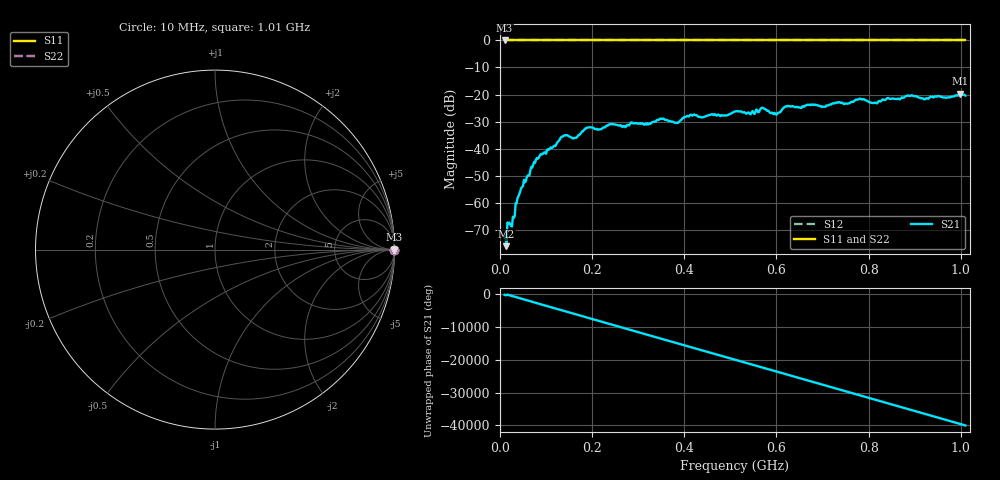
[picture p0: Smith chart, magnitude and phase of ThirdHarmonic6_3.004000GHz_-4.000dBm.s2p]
! 8/17/2025 8:35:48 AM
! C:\ANRITSUVNA\TEMP\TEMP.S2P
! CHANNEL.1
! TR.MEASUREMENT
! RAW.DATA
! RF.CORRECTION.OFF
! AVERAGING.OFF
! IF.BANDWIDTH: 5KHZ
! SWEEPTYPE:  FREQ.SWEEP(Linear)
! Reference Plane Port Info
! PORT:  PORT1  PORT2
! DISTANCE:  0  m  0  m
! TIME:  0  s  0  s
! PHASE.OFFSET:  0  deg.  0  deg.
! LOSS:  0  dB  0  dB
! REF.LOSS:  0  dB  0  dB
! REF.FREQ:  0  Hz  0  Hz
! Power Info
! POWER:  -20  dBm  -20  dBm
! EFF.POWER:  -20  dBm  -20  dBm
! SOURCE.ATTEN:  0  dB  0  dB
! TEST.ATTEN:  0  dB  0  dB
# GHZ S RI R 50.0
! FREQ.GHZ  S11RE  S11IM  S21RE  S21IM  S12RE  S12IM  S22RE  S22IM
!; PortSelection: Port_12
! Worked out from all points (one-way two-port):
!   501 points, 10 MHz to 1.01 GHz, reference 50 ohm
!   highest |S21| = -19.67 dB at 998 MHz (marker M1); lowest = -76.1 dB at 14 MHz (marker M2)
!   lowest |S11| = 0.0 dB at 10 MHz (marker M3)
!   |S11| at or under -10 dB: nowhere
!   |S22| runs from 0.0 to 0.0 dB; largest |S21 - S12| = 1.1
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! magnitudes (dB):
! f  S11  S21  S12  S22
! 10 MHz  0.0  -73.1  0.0  0.0
! 14 MHz  0.0  -76.1  0.0  0.0
! 20 MHz  0.0  -67.4  0.0  0.0
! 28 MHz  0.0  -65.2  0.0  0.0
! 38 MHz  0.0  -58.3  0.0  0.0
! 48 MHz  0.0  -54.2  0.0  0.0
! 76 MHz  0.0  -45.3  0.0  0.0
! 136 MHz  0.0  -35.6  0.0  0.0
! 162 MHz  0.0  -36.1  0.0  0.0
! 178 MHz  0.0  -33.7  0.0  0.0
! 344 MHz  0.0  -29.5  0.0  0.0
! 384 MHz  0.0  -30.4  0.0  0.0
! 416 MHz  0.0  -27.7  0.0  0.0
! 510 MHz  0.0  -26.2  0.0  0.0
! 540 MHz  0.0  -26.7  0.0  0.0
! 570 MHz  0.0  -24.9  0.0  0.0
! 598 MHz  0.0  -27.2  0.0  0.0
! 622 MHz  0.0  -24.5  0.0  0.0
! 678 MHz  0.0  -23.7  0.0  0.0
! 844 MHz  0.0  -21.4  0.0  0.0
! 998 MHz  0.0  -19.7  0.0  0.0
! 1.01 GHz  0.0  -20.4  0.0  0.0
